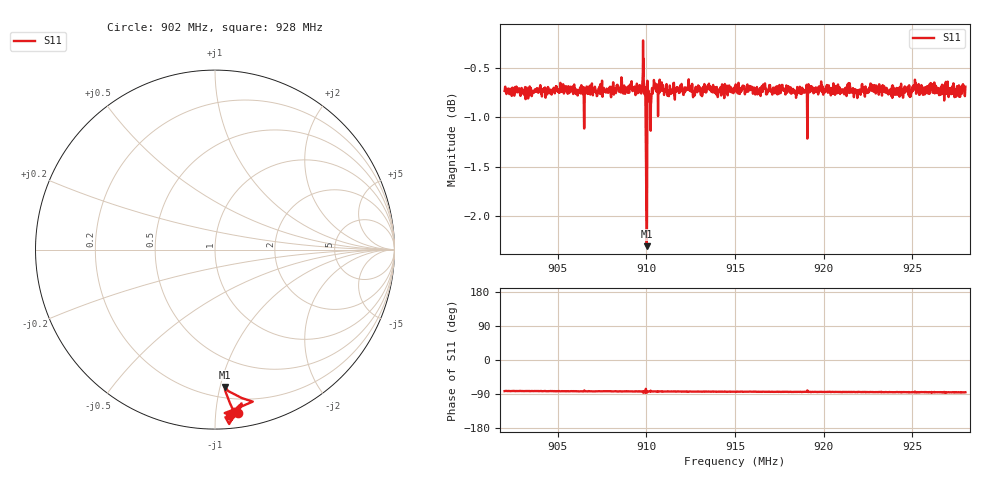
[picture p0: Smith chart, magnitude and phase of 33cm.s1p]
! Calibrated averaged scanner-service zoom
# Hz S RI R 50
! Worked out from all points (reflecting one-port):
!   2001 points, 902 MHz to 928 MHz, reference 50 ohm
!   lowest |S11| = -2.3 dB at 910.02 MHz (marker M1), VSWR 7.58, Z = 13.9 - j51.7 ohm
!   phase of S11 starts at -82 deg and turns -3 deg over the sweep
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9.02e8  0.1275 -0.9103
9.0525e8  0.1237 -0.9149
9.06329e8  0.1203 -0.9174
9.06381e8  0.1182 -0.9119
9.06602e8  0.1181 -0.913
9.06654e8  0.1175 -0.9129
9.06901e8  0.1192 -0.9135
9.07265e8  0.1206 -0.9088
9.085e8  0.1202 -0.9113
9.09657e8  0.1088 -0.9108
9.09813e8  0.0792 -0.9717
9.09852e8  0.1152 -0.9215
9.09917e8  0.1052 -0.9172
9.10021e8  0.0542 -0.7649
9.10086e8  0.1163 -0.9115
9.10112e8  0.1136 -0.9126
9.1019e8  0.1075 -0.909
9.10424e8  0.1156 -0.9237
9.1175e8  0.1161 -0.9125
9.15e8  0.101 -0.9131
9.1825e8  0.09 -0.9124
9.18861e8  0.0946 -0.9152
9.18978e8  0.093 -0.9134
9.19199e8  0.0939 -0.9128
9.19251e8  0.096 -0.9171
9.215e8  0.0838 -0.9195
9.2475e8  0.0814 -0.9185
9.28e8  0.0768 -0.9205
